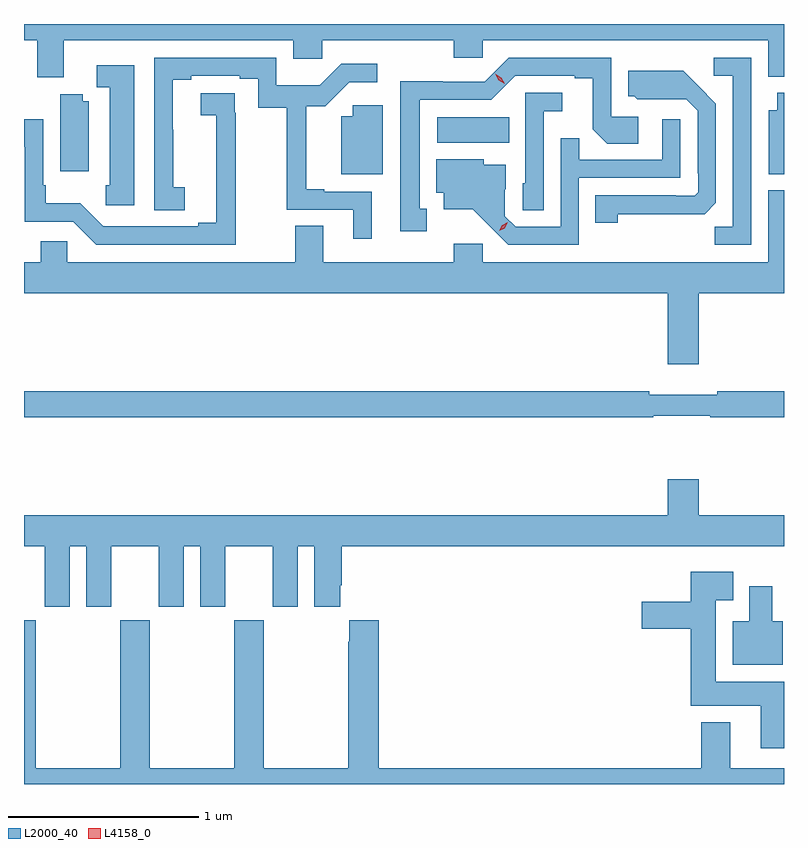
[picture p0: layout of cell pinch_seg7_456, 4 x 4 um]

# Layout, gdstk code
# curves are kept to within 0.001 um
import gdstk
lib = gdstk.Library(unit=1e-6, precision=1e-09)
def R(c, l, rs):  # rectangles x0, y0, x1, y1
    for r in rs: c.add(gdstk.rectangle(r[:2], r[2:], *l))
def P(c, l, *ps):  # polygons
    for p in ps: c.add(gdstk.Polygon(p, *l))
L2000_40 = (2000, 40)
L4158_0 = (4158, 0)

pinch_seg7_456 = lib.new_cell('pinch_seg7_456')
R(pinch_seg7_456, L2000_40, [(199.758,1074.668,200.138,1074.802)])
P(pinch_seg7_456, L2000_40, [(197.794,1075.208),(199.001,1075.208),(199.001,1075.11),(199.153,1075.11),(199.153,1075.208),(199.847,1075.208),(199.847,1075.115),(199.998,1075.115),(199.998,1075.208),(201.5,1075.208),(201.5,1075.016),(201.584,1075.016),(201.584,1075.293),(197.584,1075.293),(197.584,1075.208),(197.654,1075.208),(197.654,1075.014),(197.794,1075.014)],
  [(199.705,1074.321),(199.666,1074.321),(199.666,1074.894),(200.043,1074.894),(200.169,1075.02),(200.483,1075.02),(200.483,1075.008),(200.577,1075.008),(200.577,1074.74),(200.653,1074.664),(200.818,1074.664),(200.818,1074.804),(200.676,1074.804),(200.676,1075.116),(200.136,1075.116),(200.01,1074.99),(199.788,1074.99),(199.788,1074.992),(199.565,1074.992),(199.565,1074.201),(199.705,1074.201)],
  [(199.414,1074.411),(199.165,1074.411),(199.165,1074.424),(199.07,1074.424),(199.07,1074.861),(199.169,1074.861),(199.296,1074.987),(199.444,1074.987),(199.444,1075.083),(199.254,1075.083),(199.141,1074.97),(198.912,1074.97),(198.912,1075.116),(198.27,1075.116),(198.27,1074.313),(198.43,1074.313),(198.43,1074.433),(198.369,1074.433),(198.369,1074.737),(198.367,1074.737),(198.367,1075),(198.463,1075),(198.463,1075.02),(198.719,1075.02),(198.719,1075.006),(198.816,1075.006),(198.816,1074.853),(198.967,1074.853),(198.967,1074.315),(199.316,1074.315),(199.316,1074.162),(199.414,1074.162)],
  [(201.411,1075.116),(201.213,1075.116),(201.213,1075.02),(201.315,1075.02),(201.315,1074.227),(201.22,1074.227),(201.22,1074.132),(201.411,1074.132)],
  [(198.163,1075.075),(197.967,1075.075),(197.967,1074.96),(198.035,1074.96),(198.035,1074.444),(198.013,1074.444),(198.013,1074.339),(198.163,1074.339)],
  [(200.709,1074.292),(201.166,1074.293),(201.225,1074.352),(201.225,1074.874),(201.053,1075.048),(200.765,1075.048),(200.765,1074.912),(200.796,1074.912),(200.812,1074.896),(201.069,1074.897),(201.129,1074.837),(201.129,1074.508),(201.132,1074.508),(201.132,1074.408),(201.114,1074.39),(201.014,1074.39),(201.014,1074.393),(200.59,1074.393),(200.59,1074.246),(200.709,1074.246)],
  [(201.584,1074.931),(201.548,1074.931),(201.548,1074.838),(201.503,1074.838),(201.503,1074.503),(201.584,1074.503)],
  [(200.319,1074.833),(200.416,1074.833),(200.416,1074.93),(200.223,1074.93),(200.223,1074.456),(200.208,1074.456),(200.208,1074.313),(200.319,1074.313)],
  [(198.698,1074.827),(198.692,1074.827),(198.692,1074.929),(198.513,1074.929),(198.513,1074.814),(198.595,1074.814),(198.596,1074.248),(198.5,1074.248),(198.5,1074.228),(198,1074.228),(197.879,1074.349),(197.698,1074.349),(197.698,1074.445),(197.685,1074.445),(197.685,1074.793),(197.584,1074.793),(197.584,1074.648),(197.589,1074.648),(197.589,1074.252),(197.844,1074.252),(197.964,1074.132),(198.698,1074.132)],
  [(197.926,1074.886),(197.894,1074.886),(197.894,1074.923),(197.774,1074.923),(197.774,1074.519),(197.926,1074.519)],
  [(199.471,1074.865),(199.314,1074.865),(199.314,1074.808),(199.253,1074.808),(199.253,1074.503),(199.471,1074.503)],
  [(200.505,1074.483),(201.039,1074.483),(201.039,1074.793),(200.943,1074.793),(200.943,1074.579),(200.507,1074.579),(200.507,1074.692),(200.409,1074.692),(200.409,1074.225),(200.172,1074.225),(200.115,1074.282),(200.115,1074.424),(200.119,1074.424),(200.119,1074.553),(200.004,1074.553),(200.004,1074.58),(199.754,1074.58),(199.754,1074.404),(199.793,1074.404),(199.793,1074.317),(199.945,1074.317),(200.132,1074.132),(200.505,1074.132)],
  [(201.136,1073.876),(201.584,1073.876),(201.584,1074.418),(201.5,1074.418),(201.5,1074.04),(199.998,1074.04),(199.998,1074.136),(199.847,1074.136),(199.847,1074.04),(199.159,1074.04),(199.159,1074.23),(199.012,1074.23),(199.012,1074.04),(197.811,1074.04),(197.811,1074.15),(197.672,1074.15),(197.672,1074.04),(197.584,1074.04),(197.584,1073.876),(200.972,1073.876),(200.972,1073.502),(201.136,1073.502)],
  [(200.896,1073.232),(201.196,1073.232),(201.196,1073.224),(201.584,1073.224),(201.584,1073.36),(201.232,1073.36),(201.232,1073.341),(200.876,1073.341),(200.876,1073.36),(197.584,1073.36),(197.584,1073.224),(200.896,1073.224)],
  [(197.824,1072.544),(197.912,1072.544),(197.912,1072.227),(198.043,1072.227),(198.043,1072.544),(198.293,1072.544),(198.293,1072.227),(198.424,1072.227),(198.424,1072.544),(198.512,1072.544),(198.512,1072.227),(198.643,1072.227),(198.643,1072.544),(198.893,1072.544),(198.893,1072.227),(199.024,1072.227),(199.024,1072.544),(199.112,1072.544),(199.112,1072.227),(199.249,1072.227),(199.249,1072.339),(199.256,1072.339),(199.256,1072.544),(201.584,1072.544),(201.584,1072.708),(201.136,1072.708),(201.136,1072.897),(200.972,1072.897),(200.972,1072.708),(197.584,1072.708),(197.584,1072.544),(197.693,1072.544),(197.693,1072.227),(197.824,1072.227)],
  [(201.584,1071.832),(201.226,1071.832),(201.226,1072.259),(201.316,1072.259),(201.316,1072.411),(201.092,1072.411),(201.092,1072.251),(200.835,1072.251),(200.835,1072.109),(201.092,1072.109),(201.092,1071.704),(201.461,1071.704),(201.461,1071.48),(201.584,1071.48)],
  [(201.577,1072.15),(201.523,1072.15),(201.523,1072.333),(201.401,1072.333),(201.401,1072.15),(201.314,1072.15),(201.314,1071.92),(201.577,1071.92)],
  [(199.451,1072.156),(199.295,1072.156),(199.295,1072.043),(199.291,1072.043),(199.291,1071.376),(198.846,1071.376),(198.846,1072.156),(198.691,1072.156),(198.691,1071.376),(198.246,1071.376),(198.246,1072.156),(198.091,1072.156),(198.091,1071.376),(197.646,1071.376),(197.646,1072.156),(197.584,1072.156),(197.584,1071.293),(201.584,1071.293),(201.584,1071.376),(201.301,1071.376),(201.301,1071.619),(201.149,1071.619),(201.149,1071.376),(199.451,1071.376)])
P(pinch_seg7_456, L4158_0, [(200.084,1074.204),(200.084,1074.204),(200.101,1074.234),(200.131,1074.249),(200.131,1074.249),(200.131,1074.249),(200.114,1074.219),(200.084,1074.204)],
  [(200.113,1074.978),(200.082,1074.997),(200.064,1075.03),(200.064,1075.03),(200.065,1075.03),(200.096,1075.011),(200.114,1074.978),(200.114,1074.978)])

lib.write_gds('pinch_seg7_456.gds')
